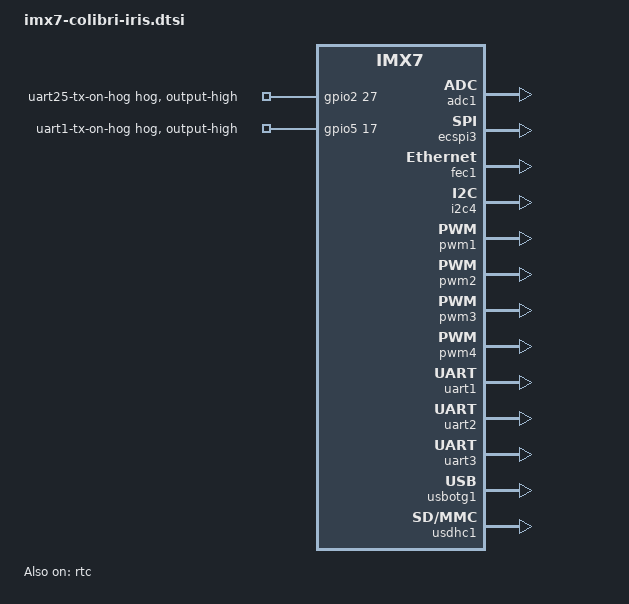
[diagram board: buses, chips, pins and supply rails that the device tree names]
// SPDX-License-Identifier: GPL-2.0-or-later OR MIT
/*
 * Copyright 2022 Toradex
 */

/* Colibri AD0 to AD3 */
&adc1 {
	status = "okay";
};

/*
 * The Atmel maxtouch controller uses SODIMM 28/30, also used for PWM<B>, PWM<C>, aka pwm2, pwm3.
 * So if you enable following capacitive touch controller, disable pwm2/pwm3 first.
 */
&atmel_mxt_ts {
	interrupt-parent = <&gpio1>;
	interrupts = <9 IRQ_TYPE_EDGE_FALLING>;		/* SODIMM 28 / INT */
	pinctrl-0 = <&pinctrl_atmel_adapter>;
	reset-gpios = <&gpio1 10 GPIO_ACTIVE_LOW>;	/* SODIMM 30 / RST */
};

/* Colibri SSP */
&ecspi3 {
	status = "okay";
};

/* Colibri Fast Ethernet */
&fec1 {
	status = "okay";
};

&gpio2 {
	/*
	 * uart25 turns the UART transceiver for UART2 and 5 on. If one wants to turn the
	 * transceiver off, that property has to be deleted and the gpio handled in userspace.
	 * The same applies to uart1_tx_on where the UART1 transceiver is turned on.
	 */
	uart25-tx-on-hog {
		gpio-hog;
		gpios = <27 GPIO_ACTIVE_HIGH>; /* SODIMM 104 */
		output-high;
	};
};

&gpio5 {
	uart1-tx-on-hog {
		gpio-hog;
		gpios = <17 GPIO_ACTIVE_HIGH>; /* SODIMM 102 */
		output-high;
	};
};

/* Colibri I2C: I2C3_SDA/SCL on SODIMM 194/196 */
&i2c4 {
	status = "okay";
};

/* Colibri PWM<A> */
&pwm1 {
	status = "okay";
};

/* Colibri PWM<B> */
&pwm2 {
	/* The pwm2 should be disabled to enable atmel_mxt_ts touchscreen for adapter. */
	status = "okay";
};

/* Colibri PWM<C> */
&pwm3 {
	/* The pwm3 should be disabled to enable atmel_mxt_ts touchscreen for adapter. */
	status = "okay";
};

/* Colibri PWM<D> */
&pwm4 {
	status = "okay";
};

/* M41T0M6 real time clock */
&rtc {
	status = "okay";
};

/* Colibri UART_A */
&uart1 {
	status = "okay";
};

/* Colibri UART_B */
&uart2 {
	status = "okay";
};

/* Colibri UART_C */
&uart3 {
	status = "okay";
};

/* Colibri USBC */
&usbotg1 {
	disable-over-current;
	status = "okay";
};

/* Colibri MMC/SD */
&usdhc1 {
	status = "okay";
};
